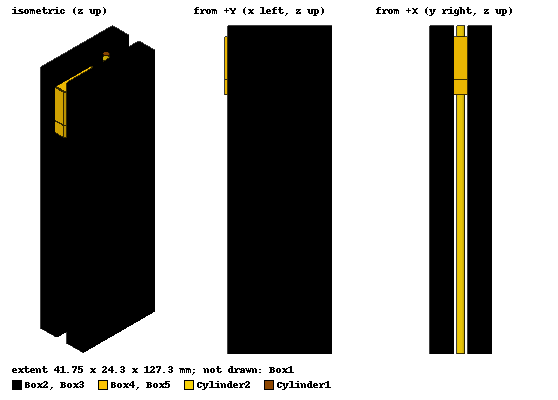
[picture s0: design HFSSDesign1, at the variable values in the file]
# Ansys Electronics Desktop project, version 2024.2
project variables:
  $D1 = 5.625mm
  $D2 = 5.625mm
  $Lateral = 100.575mm
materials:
  vacuum: permittivity=1
  copper: permeability=0.999991 conductivity=58000000
  BeCu: conductivity=25000000
  gold: permeability=0.99996 conductivity=41000000
  air: permittivity=1.0006 permeability=1.0000004
  aluminum: permeability=1.000021 conductivity=38000000

design HFSSDesign1 (HFSS, HFSS Terminal Network, model units mm)
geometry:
  Cylinder1 [BeCu] = cylinder(axis=Z, base_centre=(0mm, 0mm, 0mm), radius=1.5mm, height=127.35mm)
  Cylinder2 [gold] = cylinder(axis=Z, base_centre=(0mm, 0mm, 0mm), radius=1.525mm, height=127.35mm)
  Cylinder3 = cylinder(axis=Z, base_centre=(0mm, 0mm, 0mm), radius=1.5mm, height=127.35mm)
  Cylinder2.subtract(Cylinder3)
  Box1 [air] = box(corner=(-15.525mm, -2.8mm, 0mm), size=(40.6mm, 5.6mm, 127.35mm))
  Box2 [aluminum] = box(corner=(-15.525mm, -12.15mm, 0mm), size=(40.6mm, 9.35mm, 127.35mm))
  Box3 [aluminum] = box(corner=(-15.525mm, 2.8mm, 0mm), size=(40.6mm, 9.35mm, 127.35mm))
  Cylinder4 = cylinder(axis=Z, base_centre=(0mm, 0mm, 0mm), radius=1.5mm, height=127.35mm)
  Cylinder5 = cylinder(axis=Z, base_centre=(0mm, 0mm, 0mm), radius=1.525mm, height=127.35mm)
  Cylinder6 = cylinder(axis=Z, base_centre=(0mm, 0mm, 0mm), radius=1.5mm, height=127.35mm)
  Cylinder5.subtract(Cylinder6)
  Box1.subtract(Cylinder4)
  Box1.subtract(Cylinder5)
  Box4 [BeCu] = box(corner=($D1, -2.75mm, $Lateral+6mm), size=(20.6mm, 5.5mm, 16.6mm))
  Cylinder7 = cylinder(axis=Z, base_centre=($D1, 0mm, $Lateral+6mm), radius=2mm, height=16.6mm)
  Box4.subtract(Cylinder7)
  Box5 [BeCu] = box(corner=($D2, -2.75mm, $Lateral), size=(20.6mm, 5.5mm, 6mm))
  Cylinder8 = cylinder(axis=Z, base_centre=($D2, 0mm, $Lateral), radius=2mm, height=6mm)
  Box5.subtract(Cylinder8)
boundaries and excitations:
  1: Wave Port Faces=Cylinder1.face(+z end) Box1.face(+z) Cylinder2.face(+z end) WavePortType=Modal NumModes=1 Modes{Mode1{IntLine{(0, 0, 127.35) -> (-15.525, 0, 127.35)} CharImp=Zpi}}
  2: Wave Port Faces=Box1.face(-z) Cylinder2.face(-z end) Cylinder1.face(-z end) WavePortType=Modal NumModes=1 Modes{Mode1{IntLine{(0, 0, 0) -> (-15.525, 0, 0)} CharImp=Zpi}}
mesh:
  SurfApprox1: SurfApproxBased Objects=[Box1, Cylinder1, Cylinder2, Box4, Box5] CurvedSurfaceApproxChoice=UseSlider SliderMeshSettings=5
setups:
  Setup1: HfssDriven Frequency=1.8GHz MaxDeltaS=0.02 MaximumPasses=18 MinimumPasses=1 MinimumConvergedPasses=1 PercentRefinement=30 BasisOrder=1 PortAccuracy=2 DrivenSolverType="Direct Solver"
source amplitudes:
  1:1: 1V 0deg
  2:1: 0V 0deg
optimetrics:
  ParametricSetup1: Parametric Sim._Setups=[Setup1]
    sweep $D1: LIN 5.625mm -0.4mm -1mm
    sweep $Lateral: LIN 100mm 10mm -10mm
    sweep $D2: LIN 5.625mm -0.4mm -1mm
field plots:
  Mag_E1, Mag_E2: E Field in Box1 on Setup1 : LastAdaptive at Freq=1.8GHz Phase=0deg
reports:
  S Parameter Chart 1: S(1,1) on Setup1 : LastAdaptive [Freq=all $D1=all $D2=all $Lateral=all]
